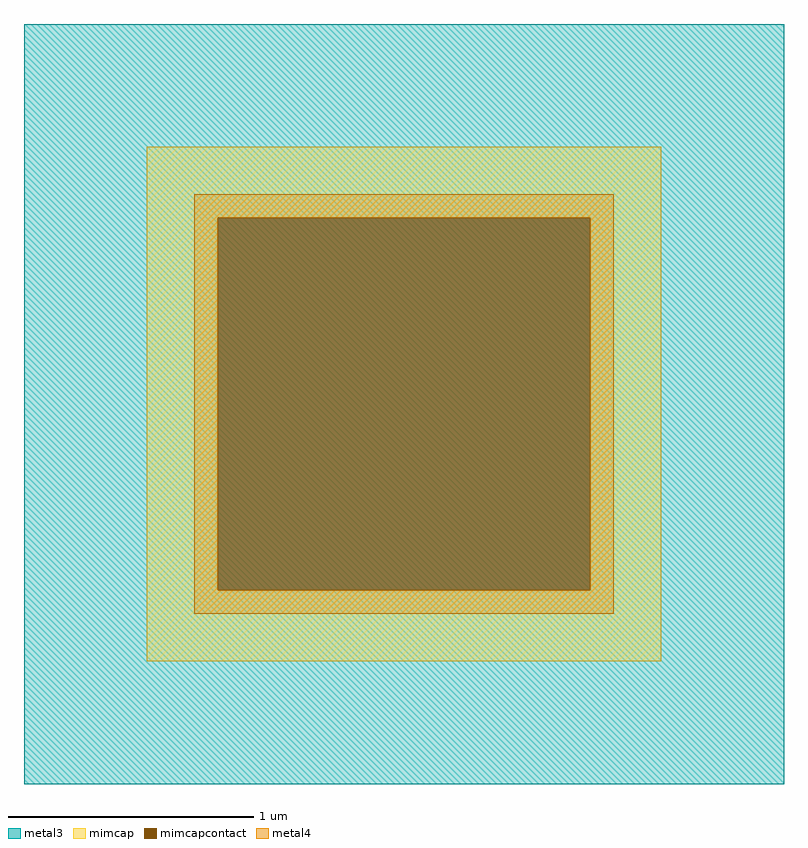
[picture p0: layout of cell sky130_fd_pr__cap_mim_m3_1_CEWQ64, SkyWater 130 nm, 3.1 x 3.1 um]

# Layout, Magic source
magic
tech sky130A
magscale 1 2
<< metal3 >>
rect -360 -310 260 310
<< mimcap >>
rect -260 152 160 210
rect -260 -152 -202 152
rect 102 -152 160 152
rect -260 -210 160 -152
<< mimcapcontact >>
rect -202 -152 102 152
<< metal4 >>
rect -221 152 121 171
rect -221 -152 -202 152
rect 102 -152 121 152
rect -221 -171 121 -152
<< properties >>
string FIXED_BBOX -360 -310 260 310
<< end >>
